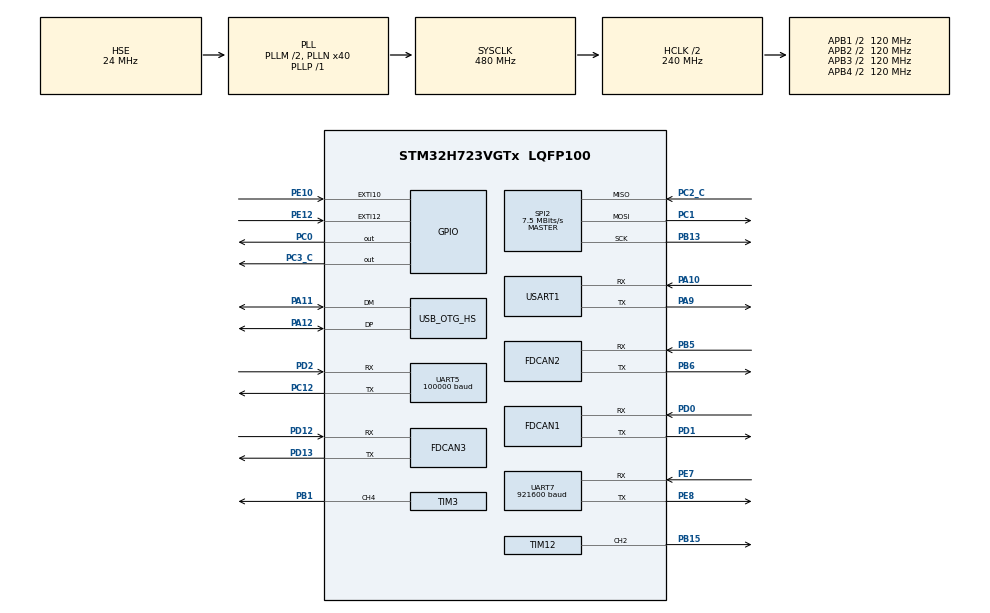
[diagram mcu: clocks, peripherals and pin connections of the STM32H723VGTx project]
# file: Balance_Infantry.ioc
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Dma.Request0=SPI2_RX
Dma.Request1=SPI2_TX
Dma.Request2=UART5_RX
Dma.Request3=USART1_RX
Dma.Request4=UART7_RX
Dma.Request5=UART7_TX
Dma.Request6=USART1_TX
Dma.SPI2_RX.0.Direction=DMA_PERIPH_TO_MEMORY
Dma.SPI2_RX.0.EventEnable=DISABLE
Dma.SPI2_RX.0.FIFOMode=DMA_FIFOMODE_DISABLE
Dma.SPI2_RX.0.Instance=DMA1_Stream3
Dma.SPI2_RX.0.MemDataAlignment=DMA_MDATAALIGN_BYTE
Dma.SPI2_RX.0.MemInc=DMA_MINC_ENABLE
Dma.SPI2_RX.0.Mode=DMA_NORMAL
Dma.SPI2_RX.0.PeriphDataAlignment=DMA_PDATAALIGN_BYTE
Dma.SPI2_RX.0.PeriphInc=DMA_PINC_DISABLE
Dma.SPI2_RX.0.Polarity=HAL_DMAMUX_REQ_GEN_RISING
Dma.SPI2_RX.0.Priority=DMA_PRIORITY_VERY_HIGH
Dma.SPI2_RX.0.RequestNumber=1
Dma.SPI2_RX.0.SignalID=NONE
Dma.SPI2_RX.0.SyncEnable=DISABLE
Dma.SPI2_RX.0.SyncPolarity=HAL_DMAMUX_SYNC_NO_EVENT
Dma.SPI2_RX.0.SyncRequestNumber=1
Dma.SPI2_RX.0.SyncSignalID=NONE
Dma.SPI2_TX.1.Direction=DMA_MEMORY_TO_PERIPH
Dma.SPI2_TX.1.EventEnable=DISABLE
Dma.SPI2_TX.1.FIFOMode=DMA_FIFOMODE_DISABLE
Dma.SPI2_TX.1.Instance=DMA1_Stream2
Dma.SPI2_TX.1.MemDataAlignment=DMA_MDATAALIGN_BYTE
Dma.SPI2_TX.1.MemInc=DMA_MINC_ENABLE
Dma.SPI2_TX.1.Mode=DMA_NORMAL
Dma.SPI2_TX.1.PeriphDataAlignment=DMA_PDATAALIGN_BYTE
Dma.SPI2_TX.1.PeriphInc=DMA_PINC_DISABLE
Dma.SPI2_TX.1.Polarity=HAL_DMAMUX_REQ_GEN_RISING
Dma.SPI2_TX.1.Priority=DMA_PRIORITY_HIGH
Dma.SPI2_TX.1.RequestNumber=1
Dma.SPI2_TX.1.SignalID=NONE
Dma.SPI2_TX.1.SyncEnable=DISABLE
Dma.SPI2_TX.1.SyncPolarity=HAL_DMAMUX_SYNC_NO_EVENT
Dma.SPI2_TX.1.SyncRequestNumber=1
Dma.SPI2_TX.1.SyncSignalID=NONE
Dma.UART5_RX.2.Direction=DMA_PERIPH_TO_MEMORY
Dma.UART5_RX.2.EventEnable=DISABLE
Dma.UART5_RX.2.FIFOMode=DMA_FIFOMODE_DISABLE
Dma.UART5_RX.2.Instance=DMA1_Stream1
Dma.UART5_RX.2.MemDataAlignment=DMA_MDATAALIGN_BYTE
Dma.UART5_RX.2.MemInc=DMA_MINC_ENABLE
Dma.UART5_RX.2.Mode=DMA_NORMAL
Dma.UART5_RX.2.PeriphDataAlignment=DMA_PDATAALIGN_BYTE
Dma.UART5_RX.2.PeriphInc=DMA_PINC_DISABLE
Dma.UART5_RX.2.Polarity=HAL_DMAMUX_REQ_GEN_RISING
Dma.UART5_RX.2.Priority=DMA_PRIORITY_LOW
Dma.UART5_RX.2.RequestNumber=1
Dma.UART5_RX.2.SignalID=NONE
Dma.UART5_RX.2.SyncEnable=DISABLE
Dma.UART5_RX.2.SyncPolarity=HAL_DMAMUX_SYNC_NO_EVENT
Dma.UART5_RX.2.SyncRequestNumber=1
Dma.UART5_RX.2.SyncSignalID=NONE
Dma.UART7_RX.4.Direction=DMA_PERIPH_TO_MEMORY
Dma.UART7_RX.4.EventEnable=DISABLE
Dma.UART7_RX.4.FIFOMode=DMA_FIFOMODE_DISABLE
Dma.UART7_RX.4.Instance=DMA2_Stream1
Dma.UART7_RX.4.MemDataAlignment=DMA_MDATAALIGN_BYTE
Dma.UART7_RX.4.MemInc=DMA_MINC_ENABLE
Dma.UART7_RX.4.Mode=DMA_NORMAL
Dma.UART7_RX.4.PeriphDataAlignment=DMA_PDATAALIGN_BYTE
Dma.UART7_RX.4.PeriphInc=DMA_PINC_DISABLE
Dma.UART7_RX.4.Polarity=HAL_DMAMUX_REQ_GEN_RISING
Dma.UART7_RX.4.Priority=DMA_PRIORITY_HIGH
Dma.UART7_RX.4.RequestNumber=1
Dma.UART7_RX.4.SignalID=NONE
Dma.UART7_RX.4.SyncEnable=DISABLE
Dma.UART7_RX.4.SyncPolarity=HAL_DMAMUX_SYNC_NO_EVENT
Dma.UART7_RX.4.SyncRequestNumber=1
Dma.UART7_RX.4.SyncSignalID=NONE
Dma.UART7_TX.5.Direction=DMA_MEMORY_TO_PERIPH
Dma.UART7_TX.5.EventEnable=DISABLE
Dma.UART7_TX.5.FIFOMode=DMA_FIFOMODE_DISABLE
Dma.UART7_TX.5.Instance=DMA2_Stream6
Dma.UART7_TX.5.MemDataAlignment=DMA_MDATAALIGN_BYTE
Dma.UART7_TX.5.MemInc=DMA_MINC_ENABLE
Dma.UART7_TX.5.Mode=DMA_NORMAL
Dma.UART7_TX.5.PeriphDataAlignment=DMA_PDATAALIGN_BYTE
Dma.UART7_TX.5.PeriphInc=DMA_PINC_DISABLE
Dma.UART7_TX.5.Polarity=HAL_DMAMUX_REQ_GEN_RISING
Dma.UART7_TX.5.Priority=DMA_PRIORITY_VERY_HIGH
Dma.UART7_TX.5.RequestNumber=1
Dma.UART7_TX.5.SignalID=NONE
Dma.UART7_TX.5.SyncEnable=DISABLE
Dma.UART7_TX.5.SyncPolarity=HAL_DMAMUX_SYNC_NO_EVENT
Dma.UART7_TX.5.SyncRequestNumber=1
Dma.UART7_TX.5.SyncSignalID=NONE
Dma.USART1_RX.3.Direction=DMA_PERIPH_TO_MEMORY
Dma.USART1_RX.3.EventEnable=DISABLE
Dma.USART1_RX.3.FIFOMode=DMA_FIFOMODE_DISABLE
Dma.USART1_RX.3.Instance=DMA1_Stream0
Dma.USART1_RX.3.MemDataAlignment=DMA_MDATAALIGN_BYTE
Dma.USART1_RX.3.MemInc=DMA_MINC_ENABLE
Dma.USART1_RX.3.Mode=DMA_NORMAL
Dma.USART1_RX.3.PeriphDataAlignment=DMA_PDATAALIGN_BYTE
Dma.USART1_RX.3.PeriphInc=DMA_PINC_DISABLE
Dma.USART1_RX.3.Polarity=HAL_DMAMUX_REQ_GEN_RISING
Dma.USART1_RX.3.Priority=DMA_PRIORITY_MEDIUM
Dma.USART1_RX.3.RequestNumber=1
Dma.USART1_RX.3.SignalID=NONE
Dma.USART1_RX.3.SyncEnable=DISABLE
Dma.USART1_RX.3.SyncPolarity=HAL_DMAMUX_SYNC_NO_EVENT
Dma.USART1_RX.3.SyncRequestNumber=1
Dma.USART1_RX.3.SyncSignalID=NONE
Dma.USART1_TX.6.Direction=DMA_MEMORY_TO_PERIPH
Dma.USART1_TX.6.EventEnable=DISABLE
Dma.USART1_TX.6.FIFOMode=DMA_FIFOMODE_DISABLE
Dma.USART1_TX.6.Instance=DMA1_Stream4
Dma.USART1_TX.6.MemDataAlignment=DMA_MDATAALIGN_BYTE
Dma.USART1_TX.6.MemInc=DMA_MINC_ENABLE
Dma.USART1_TX.6.Mode=DMA_NORMAL
Dma.USART1_TX.6.PeriphDataAlignment=DMA_PDATAALIGN_BYTE
Dma.USART1_TX.6.PeriphInc=DMA_PINC_DISABLE
Dma.USART1_TX.6.Polarity=HAL_DMAMUX_REQ_GEN_RISING
Dma.USART1_TX.6.Priority=DMA_PRIORITY_MEDIUM
Dma.USART1_TX.6.RequestNumber=1
Dma.USART1_TX.6.SignalID=NONE
Dma.USART1_TX.6.SyncEnable=DISABLE
Dma.USART1_TX.6.SyncPolarity=HAL_DMAMUX_SYNC_NO_EVENT
Dma.USART1_TX.6.SyncRequestNumber=1
Dma.USART1_TX.6.SyncSignalID=NONE
FDCAN1.AutoRetransmission=ENABLE
FDCAN1.CalculateBaudRateNominal=1000000
FDCAN1.CalculateTimeBitNominal=1000
FDCAN1.CalculateTimeQuantumNominal=25.0
FDCAN1.DataSyncJumpWidth=2
FDCAN1.DataTimeSeg1=13
FDCAN1.DataTimeSeg2=2
FDCAN1.ExtFiltersNbr=4
FDCAN1.NominalPrescaler=3
FDCAN1.NominalSyncJumpWidth=4
FDCAN1.NominalTimeSeg1=29
FDCAN1.NominalTimeSeg2=10
FDCAN1.ProtocolException=ENABLE
FDCAN1.RxBuffersNbr=2
FDCAN1.RxFifo0ElmtsNbr=8
FDCAN1.RxFifo1ElmtsNbr=8
FDCAN1.StdFiltersNbr=4
FDCAN1.TxBuffersNbr=8
FDCAN1.TxEventsNbr=8
FDCAN1.TxFifoQueueElmtsNbr=8
FDCAN2.AutoRetransmission=ENABLE
FDCAN2.CalculateBaudRateNominal=1000000
FDCAN2.CalculateTimeBitNominal=1000
FDCAN2.CalculateTimeQuantumNominal=25.0
FDCAN2.DataSyncJumpWidth=2
FDCAN2.DataTimeSeg1=13
FDCAN2.DataTimeSeg2=2
FDCAN2.ExtFiltersNbr=4
FDCAN2.MessageRAMOffset=0x406
FDCAN2.NominalPrescaler=3
FDCAN2.NominalSyncJumpWidth=4
FDCAN2.NominalTimeSeg1=29
FDCAN2.NominalTimeSeg2=10
FDCAN2.ProtocolException=ENABLE
FDCAN2.RxBuffersNbr=2
FDCAN2.RxFifo0ElmtsNbr=8
FDCAN2.RxFifo1ElmtsNbr=8
FDCAN2.StdFiltersNbr=4
FDCAN2.TxBuffersNbr=8
FDCAN2.TxEventsNbr=8
FDCAN2.TxFifoQueueElmtsNbr=8
FDCAN3.AutoRetransmission=ENABLE
FDCAN3.CalculateBaudRateNominal=1000000
FDCAN3.CalculateTimeBitNominal=1000
FDCAN3.CalculateTimeQuantumNominal=25.0
FDCAN3.DataSyncJumpWidth=2
FDCAN3.DataTimeSeg1=13
FDCAN3.DataTimeSeg2=2
FDCAN3.ExtFiltersNbr=4
FDCAN3.MessageRAMOffset=0x812
FDCAN3.NominalPrescaler=3
FDCAN3.NominalSyncJumpWidth=4
FDCAN3.NominalTimeSeg1=29
FDCAN3.NominalTimeSeg2=10
FDCAN3.ProtocolException=ENABLE
FDCAN3.RxBuffersNbr=2
FDCAN3.RxFifo0ElmtsNbr=8
FDCAN3.RxFifo1ElmtsNbr=8
FDCAN3.StdFiltersNbr=4
FDCAN3.TxBuffersNbr=8
FDCAN3.TxEventsNbr=8
FDCAN3.TxFifoQueueElmtsNbr=8
FREERTOS.INCLUDE_eTaskGetState=1
FREERTOS.INCLUDE_pcTaskGetTaskName=1
FREERTOS.INCLUDE_uxTaskGetStackHighWaterMark=1
FREERTOS.INCLUDE_vTaskCleanUpResources=1
FREERTOS.INCLUDE_vTaskDelayUntil=1
FREERTOS.INCLUDE_xQueueGetMutexHolder=1
FREERTOS.INCLUDE_xSemaphoreGetMutexHolder=1
FREERTOS.INCLUDE_xTaskAbortDelay=1
FREERTOS.INCLUDE_xTaskGetCurrentTaskHandle=1
FREERTOS.INCLUDE_xTaskGetHandle=1
FREERTOS.Tasks01=Check_Task,-1,256,Start_Check_Task,Default,NULL,Dynamic,NULL,NULL;Ins_Task,3,1024,Start_Ins_Task,Default,NULL,Dynamic,NULL,NULL;Gimbal_Task,2,512,Start_Gimbal_Task,Default,NULL,Dynamic,NULL,NULL;Board_Can_Task,0,256,Start_Board_Can_Task,Default,NULL,Dynamic,NULL,NULL;Aim_Task,3,1024,Start_Aim_Task,Default,NULL,Dynamic,NULL,NULL;Limit_Task,2,512,Start_Limit_Task,Default,NULL,Dynamic,NULL,NULL
FREERTOS.configTOTAL_HEAP_SIZE=24567
FREERTOS.configUSE_CO_ROUTINES=0
FREERTOS.configUSE_TIMERS=1
Mcu.Family=STM32H7
Mcu.Name=STM32H723VGTx
Mcu.Package=LQFP100
NVIC.DMA1_Stream0_IRQn=true\:5\:0\:false\:false\:true\:true\:false\:true\:true
NVIC.DMA1_Stream1_IRQn=true\:5\:0\:false\:false\:true\:true\:false\:true\:true
NVIC.DMA1_Stream2_IRQn=true\:5\:0\:false\:false\:true\:true\:false\:true\:true
NVIC.DMA1_Stream3_IRQn=true\:5\:0\:false\:false\:true\:true\:false\:true\:true
NVIC.DMA1_Stream4_IRQn=true\:5\:0\:false\:false\:true\:true\:false\:true\:true
NVIC.DMA2_Stream1_IRQn=true\:5\:0\:false\:false\:true\:true\:false\:true\:true
NVIC.DMA2_Stream6_IRQn=true\:5\:0\:false\:false\:true\:true\:false\:true\:true
NVIC.EXTI15_10_IRQn=true\:5\:0\:false\:false\:true\:true\:true\:true\:true
NVIC.FDCAN1_IT0_IRQn=true\:5\:0\:false\:false\:true\:true\:true\:true\:true
NVIC.FDCAN1_IT1_IRQn=true\:5\:0\:false\:false\:true\:true\:true\:true\:true
NVIC.FDCAN2_IT0_IRQn=true\:5\:0\:false\:false\:true\:true\:true\:true\:true
NVIC.FDCAN2_IT1_IRQn=true\:5\:0\:false\:false\:true\:true\:true\:true\:true
NVIC.FDCAN3_IT0_IRQn=true\:5\:0\:false\:false\:true\:true\:true\:true\:true
NVIC.FDCAN3_IT1_IRQn=true\:5\:0\:false\:false\:true\:true\:true\:true\:true
NVIC.OTG_HS_IRQn=true\:5\:0\:false\:false\:true\:true\:false\:true\:true
NVIC.PriorityGroup=NVIC_PRIORITYGROUP_4
NVIC.SPI2_IRQn=true\:5\:0\:false\:false\:true\:true\:false\:true\:true
NVIC.TIM2_IRQn=true\:15\:0\:false\:false\:true\:false\:false\:true\:true
NVIC.TimeBase=TIM2_IRQn
NVIC.TimeBaseIP=TIM2
NVIC.UART5_IRQn=true\:5\:0\:false\:false\:true\:true\:true\:true\:true
NVIC.UART7_IRQn=true\:5\:0\:false\:false\:true\:true\:true\:true\:true
NVIC.USART1_IRQn=true\:5\:0\:false\:false\:true\:true\:true\:true\:true
PA10.Mode=Asynchronous
PA10.Signal=USART1_RX
PA11.Mode=Device_Only_FS
PA11.Signal=USB_OTG_HS_DM
PA12.Mode=Device_Only_FS
PA12.Signal=USB_OTG_HS_DP
PA13(JTMS/SWDIO).Mode=Serial_Wire
PA13(JTMS/SWDIO).Signal=DEBUG_JTMS-SWDIO
PA14(JTCK/SWCLK).Mode=Serial_Wire
PA14(JTCK/SWCLK).Signal=DEBUG_JTCK-SWCLK
PA9.Mode=Asynchronous
PA9.Signal=USART1_TX
PB1.Signal=S_TIM3_CH4
PB13.Mode=Full_Duplex_Master
PB13.Signal=SPI2_SCK
PB15.Signal=S_TIM12_CH2
PB5.Mode=FDCAN_Activate
PB5.Signal=FDCAN2_RX
PB6.Mode=FDCAN_Activate
PB6.Signal=FDCAN2_TX
PC0.GPIO_Speed=GPIO_SPEED_FREQ_VERY_HIGH
PC0.PinState=GPIO_PIN_SET
PC0.Signal=GPIO_Output
PC1.Mode=Full_Duplex_Master
PC1.Signal=SPI2_MOSI
PC12.Mode=Asynchronous
PC12.Signal=UART5_TX
PC2_C.Mode=Full_Duplex_Master
PC2_C.Signal=SPI2_MISO
PC3_C.GPIO_Speed=GPIO_SPEED_FREQ_VERY_HIGH
PC3_C.PinState=GPIO_PIN_SET
PC3_C.Signal=GPIO_Output
PD0.Mode=FDCAN_Activate
PD0.Signal=FDCAN1_RX
PD1.Mode=FDCAN_Activate
PD1.Signal=FDCAN1_TX
PD12.Mode=FDCAN_Activate
PD12.Signal=FDCAN3_RX
PD13.Mode=FDCAN_Activate
PD13.Signal=FDCAN3_TX
PD2.Mode=Asynchronous
PD2.Signal=UART5_RX
PE10.Signal=GPXTI10
PE12.Signal=GPXTI12
PE7.Mode=Asynchronous
PE7.Signal=UART7_RX
PE8.Mode=Asynchronous
PE8.Signal=UART7_TX
PH0-OSC_IN.Mode=HSE-External-Oscillator
PH0-OSC_IN.Signal=RCC_OSC_IN
PH1-OSC_OUT.Mode=HSE-External-Oscillator
PH1-OSC_OUT.Signal=RCC_OSC_OUT
ProjectManager.HeapSize=0x2000
ProjectManager.StackSize=0x4000
ProjectManager.TargetToolchain=MDK-ARM V5.32
RCC.ADCFreq_Value=48375000
RCC.APB1Freq_Value=120000000
RCC.APB2Freq_Value=120000000
RCC.APB3Freq_Value=120000000
RCC.APB4Freq_Value=120000000
RCC.CortexFreq_Value=480000000
RCC.D1PPRE=RCC_APB3_DIV2
RCC.D2PPRE1=RCC_APB1_DIV2
RCC.D2PPRE2=RCC_APB2_DIV2
RCC.D3PPRE=RCC_APB4_DIV2
RCC.DIVM1=2
RCC.DIVN1=40
RCC.DIVP1=1
RCC.DIVQ1=4
RCC.HCLKFreq_Value=240000000
RCC.HPRE=RCC_HCLK_DIV2
RCC.HSE_VALUE=24000000
RCC.PLL2FRACN=0
RCC.PLL3FRACN=0
RCC.PLLFRACN=0
RCC.PLLSourceVirtual=RCC_PLLSOURCE_HSE
RCC.SYSCLKFreq_VALUE=480000000
RCC.SYSCLKSource=RCC_SYSCLKSOURCE_PLLCLK
RCC.USBCLockSelection=RCC_USBCLKSOURCE_HSI48
RCC.USBFreq_Value=48000000
SH.S_TIM12_CH2.0=TIM12_CH2,PWM Generation2 CH2
SH.S_TIM3_CH4.0=TIM3_CH4,PWM Generation4 CH4
SPI2.BaudRatePrescaler=SPI_BAUDRATEPRESCALER_16
SPI2.CLKPhase=SPI_PHASE_2EDGE
SPI2.CLKPolarity=SPI_POLARITY_HIGH
SPI2.CalculateBaudRate=7.5 MBits/s
SPI2.DataSize=SPI_DATASIZE_8BIT
SPI2.Direction=SPI_DIRECTION_2LINES
SPI2.Mode=SPI_MODE_MASTER
SPI2.VirtualType=VM_MASTER
TIM12.Channel-PWM\ Generation2\ CH2=TIM_CHANNEL_2
TIM12.Period=10000-1
TIM12.Prescaler=12-1
TIM3.Channel-PWM\ Generation4\ CH4=TIM_CHANNEL_4
TIM3.Period=10000-1
TIM3.Prescaler=24-1
UART5.BaudRate=100000
UART5.Parity=PARITY_EVEN
UART5.StopBits=UART_STOPBITS_1
UART5.WordLength=WORDLENGTH_9B
UART7.BaudRate=921600
USART1.VirtualMode-Asynchronous=VM_ASYNC
USB_DEVICE.CLASS_NAME_HS=CDC
USB_DEVICE.VirtualMode=Cdc
USB_DEVICE.VirtualModeHS=Cdc_HS
USB_OTG_HS.VirtualMode-Device_Only_FS=Device_Only_FS
VP_CRC_VS_CRC.Mode=CRC_Activate
VP_FREERTOS_VS_CMSIS_V1.Mode=CMSIS_V1
VP_MEMORYMAP_VS_MEMORYMAP.Mode=CurAppReg
VP_SYS_VS_tim2.Mode=TIM2
VP_USB_DEVICE_VS_USB_DEVICE_CDC_HS.Mode=CDC_HS
board=custom

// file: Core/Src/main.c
/* USER CODE BEGIN Header */
/**
  ******************************************************************************
  * @file           : main.c
  * @brief          : Main program body
  ******************************************************************************
  * @attention
  *
  * Copyright (c) 2026 STMicroelectronics.
  * All rights reserved.
  *
  * This software is licensed under terms that can be found in the LICENSE file
  * in the root directory of this software component.
  * If no LICENSE file comes with this software, it is provided AS-IS.
  *
  ******************************************************************************
  */
/* USER CODE END Header */
#include "main.h"
#include "cmsis_os.h"
#include "crc.h"
#include "dma.h"
#include "fdcan.h"
#include "spi.h"
#include "tim.h"
#include "usart.h"
#include "usb_device.h"
#include "gpio.h"

/* USER CODE BEGIN Includes */

#include "VT03.h"
#include "bsp_dwt.h"
#include "bsp_can.h"
#include "bsp_buzzer.h"
#include "BMI088driver.h"
#include "Remote_Control.h"

/* USER CODE END Includes */

void SystemClock_Config(void);
void MX_FREERTOS_Init(void);

int main(void)
{

  /* MCU Configuration--------------------------------------------------------*/

  /* Reset of all peripherals, Initializes the Flash interface and the Systick. */
  HAL_Init();

  /* Configure the system clock */
  SystemClock_Config();

  /* Initialize all configured peripherals */
  MX_GPIO_Init();
  MX_DMA_Init();
  MX_TIM3_Init();
  MX_TIM12_Init();
  MX_SPI2_Init();
  MX_FDCAN1_Init();
  MX_FDCAN2_Init();
  MX_FDCAN3_Init();
  MX_UART5_Init();
  MX_USART1_UART_Init();
  MX_UART7_Init();
  MX_CRC_Init();
  /* USER CODE BEGIN 2 */

	//BMI088
	DWT_Init(480);
	while(BMI088_init(&hspi2, 0) != BMI088_NO_ERROR){;}

	//BUZZER
	HAL_TIM_Base_Start(&htim12);
	HAL_TIM_PWM_Start(&htim12, TIM_CHANNEL_2);

	Buzzer_Off();

	//RC
	Remote_Control_Init();

	//VT03
	VT03_Init();

	//CAN
	FDCAN_Init();

  /* USER CODE END 2 */

  /* Call init function for freertos objects (in cmsis_os2.c) */
  MX_FREERTOS_Init();

  /* Start scheduler */
  osKernelStart();

  /* We should never get here as control is now taken by the scheduler */

  /* Infinite loop */
  while (1)
  {

  }
}

void SystemClock_Config(void)
{
  RCC_OscInitTypeDef RCC_OscInitStruct = {0};
  RCC_ClkInitTypeDef RCC_ClkInitStruct = {0};

  /** Supply configuration update enable
  */
  HAL_PWREx_ConfigSupply(PWR_LDO_SUPPLY);

  /** Configure the main internal regulator output voltage
  */
  __HAL_PWR_VOLTAGESCALING_CONFIG(PWR_REGULATOR_VOLTAGE_SCALE0);

  while(!__HAL_PWR_GET_FLAG(PWR_FLAG_VOSRDY)) {}

  /** Initializes the RCC Oscillators according to the specified parameters
  * in the RCC_OscInitTypeDef structure.
  */
  RCC_OscInitStruct.OscillatorType = RCC_OSCILLATORTYPE_HSI48|RCC_OSCILLATORTYPE_HSE;
  RCC_OscInitStruct.HSEState = RCC_HSE_ON;
  RCC_OscInitStruct.HSI48State = RCC_HSI48_ON;
  RCC_OscInitStruct.PLL.PLLState = RCC_PLL_ON;
  RCC_OscInitStruct.PLL.PLLSource = RCC_PLLSOURCE_HSE;
  RCC_OscInitStruct.PLL.PLLM = 2;
  RCC_OscInitStruct.PLL.PLLN = 40;
  RCC_OscInitStruct.PLL.PLLP = 1;
  RCC_OscInitStruct.PLL.PLLQ = 4;
  RCC_OscInitStruct.PLL.PLLR = 2;
  RCC_OscInitStruct.PLL.PLLRGE = RCC_PLL1VCIRANGE_3;
  RCC_OscInitStruct.PLL.PLLVCOSEL = RCC_PLL1VCOWIDE;
  RCC_OscInitStruct.PLL.PLLFRACN = 0;
  if (HAL_RCC_OscConfig(&RCC_OscInitStruct) != HAL_OK)
  {
    Error_Handler();
  }

  /** Initializes the CPU, AHB and APB buses clocks
  */
  RCC_ClkInitStruct.ClockType = RCC_CLOCKTYPE_HCLK|RCC_CLOCKTYPE_SYSCLK
                              |RCC_CLOCKTYPE_PCLK1|RCC_CLOCKTYPE_PCLK2
                              |RCC_CLOCKTYPE_D3PCLK1|RCC_CLOCKTYPE_D1PCLK1;
  RCC_ClkInitStruct.SYSCLKSource = RCC_SYSCLKSOURCE_PLLCLK;
  RCC_ClkInitStruct.SYSCLKDivider = RCC_SYSCLK_DIV1;
  RCC_ClkInitStruct.AHBCLKDivider = RCC_HCLK_DIV2;
  RCC_ClkInitStruct.APB3CLKDivider = RCC_APB3_DIV2;
  RCC_ClkInitStruct.APB1CLKDivider = RCC_APB1_DIV2;
  RCC_ClkInitStruct.APB2CLKDivider = RCC_APB2_DIV2;
  RCC_ClkInitStruct.APB4CLKDivider = RCC_APB4_DIV2;

  if (HAL_RCC_ClockConfig(&RCC_ClkInitStruct, FLASH_LATENCY_3) != HAL_OK)
  {
    Error_Handler();
  }
}

void HAL_TIM_PeriodElapsedCallback(TIM_HandleTypeDef *htim)
{
  if (htim->Instance == TIM2)
  {
    HAL_IncTick();
  }
}

void Error_Handler(void)
{
  __disable_irq();
  while (1)
  {
  }
}

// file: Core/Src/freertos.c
/* USER CODE BEGIN Header */
/**
  ******************************************************************************
  * File Name          : freertos.c
  * Description        : Code for freertos applications
  ******************************************************************************
  * @attention
  *
  * Copyright (c) 2026 STMicroelectronics.
  * All rights reserved.
  *
  * This software is licensed under terms that can be found in the LICENSE file
  * in the root directory of this software component.
  * If no LICENSE file comes with this software, it is provided AS-IS.
  *
  ******************************************************************************
  */
/* USER CODE END Header */

#include "FreeRTOS.h"
#include "task.h"
#include "main.h"
#include "cmsis_os.h"

/* USER CODE BEGIN Includes */

#include "Ins_Task.h"
#include "Aim_Task.h"
#include "Limit_Task.h"
#include "Check_Task.h"
#include "Gimbal_Task.h"
#include "Board_Can_Task.h"
#include "GimbalSystemID.h"

/* USER CODE END Includes */

/* USER CODE BEGIN Variables */

int Test_Check_Flag = 0;

/* USER CODE END Variables */
osThreadId Check_TaskHandle;
osThreadId Ins_TaskHandle;
osThreadId Gimbal_TaskHandle;
osThreadId Board_Can_TaskHandle;
osThreadId Aim_TaskHandle;
osThreadId Limit_TaskHandle;

void Start_Check_Task(void const * argument);
void Start_Ins_Task(void const * argument);
void Start_Gimbal_Task(void const * argument);
void Start_Board_Can_Task(void const * argument);
void Start_Aim_Task(void const * argument);
void Start_Limit_Task(void const * argument);

extern void MX_USB_DEVICE_Init(void);
void MX_FREERTOS_Init(void); /* (MISRA C 2004 rule 8.1) */

/* GetIdleTaskMemory prototype (linked to static allocation support) */
void vApplicationGetIdleTaskMemory( StaticTask_t **ppxIdleTaskTCBBuffer, StackType_t **ppxIdleTaskStackBuffer, uint32_t *pulIdleTaskStackSize );

/* GetTimerTaskMemory prototype (linked to static allocation support) */
void vApplicationGetTimerTaskMemory( StaticTask_t **ppxTimerTaskTCBBuffer, StackType_t **ppxTimerTaskStackBuffer, uint32_t *pulTimerTaskStackSize );

/* USER CODE BEGIN GET_IDLE_TASK_MEMORY */
static StaticTask_t xIdleTaskTCBBuffer;
static StackType_t xIdleStack[configMINIMAL_STACK_SIZE];

void vApplicationGetIdleTaskMemory( StaticTask_t **ppxIdleTaskTCBBuffer, StackType_t **ppxIdleTaskStackBuffer, uint32_t *pulIdleTaskStackSize )
{
  *ppxIdleTaskTCBBuffer = &xIdleTaskTCBBuffer;
  *ppxIdleTaskStackBuffer = &xIdleStack[0];
  *pulIdleTaskStackSize = configMINIMAL_STACK_SIZE;
  /* place for user code */
}
/* USER CODE END GET_IDLE_TASK_MEMORY */

/* USER CODE BEGIN GET_TIMER_TASK_MEMORY */
static StaticTask_t xTimerTaskTCBBuffer;
static StackType_t xTimerStack[configTIMER_TASK_STACK_DEPTH];

void vApplicationGetTimerTaskMemory( StaticTask_t **ppxTimerTaskTCBBuffer, StackType_t **ppxTimerTaskStackBuffer, uint32_t *pulTimerTaskStackSize )
{
  *ppxTimerTaskTCBBuffer = &xTimerTaskTCBBuffer;
  *ppxTimerTaskStackBuffer = &xTimerStack[0];
  *pulTimerTaskStackSize = configTIMER_TASK_STACK_DEPTH;
  /* place for user code */
}
/* USER CODE END GET_TIMER_TASK_MEMORY */

void MX_FREERTOS_Init(void) {

  /* Create the thread(s) */
  /* definition and creation of Check_Task */
  osThreadDef(Check_Task, Start_Check_Task, osPriorityBelowNormal, 0, 256);
  Check_TaskHandle = osThreadCreate(osThread(Check_Task), NULL);

  /* definition and creation of Ins_Task */
  osThreadDef(Ins_Task, Start_Ins_Task, osPriorityRealtime, 0, 1024);
  Ins_TaskHandle = osThreadCreate(osThread(Ins_Task), NULL);

  /* definition and creation of Gimbal_Task */
  osThreadDef(Gimbal_Task, Start_Gimbal_Task, osPriorityHigh, 0, 512);
  Gimbal_TaskHandle = osThreadCreate(osThread(Gimbal_Task), NULL);

  /* definition and creation of Board_Can_Task */
  osThreadDef(Board_Can_Task, Start_Board_Can_Task, osPriorityNormal, 0, 256);
  Board_Can_TaskHandle = osThreadCreate(osThread(Board_Can_Task), NULL);

  /* definition and creation of Aim_Task */
  osThreadDef(Aim_Task, Start_Aim_Task, osPriorityRealtime, 0, 1024);
  Aim_TaskHandle = osThreadCreate(osThread(Aim_Task), NULL);

  /* definition and creation of Limit_Task */
  osThreadDef(Limit_Task, Start_Limit_Task, osPriorityHigh, 0, 512);
  Limit_TaskHandle = osThreadCreate(osThread(Limit_Task), NULL);

}

void Start_Check_Task(void const * argument)
{
  /* init code for USB_DEVICE */
  MX_USB_DEVICE_Init();
  /* USER CODE BEGIN Start_Check_Task */

	Check_Init();

  /* Infinite loop */
  for(;;)
  {
		Test_Check_Flag++;

		if(Test_Check_Flag > 5000)
		{
			Test_Check_Flag = 0;
		}

    Check_Task();
    osDelay(10);
  }
  /* USER CODE END Start_Check_Task */
}

void Start_Ins_Task(void const * argument)
{
  /* USER CODE BEGIN Start_Ins_Task */

	INS_Init();

  /* Infinite loop */
  for(;;)
  {
		INS_Task();

    osDelay(1);
  }
  /* USER CODE END Start_Ins_Task */
}

void Start_Gimbal_Task(void const * argument)
{
  /* USER CODE BEGIN Start_Gimbal_Task */

	Gimbal_Init();

	GimbalSystemID_Init(&Gimbal_Status);

  /* Infinite loop */
  for(;;)
  {
		Gimbal_Task();

    osDelay(1);
  }
  /* USER CODE END Start_Gimbal_Task */
}

void Start_Board_Can_Task(void const * argument)
{
  /* USER CODE BEGIN Start_Board_Can_Task */

	Board_Can_Init();

  /* Infinite loop */
  for(;;)
  {
		Board_Can_Task();

    osDelay(1);
  }
  /* USER CODE END Start_Board_Can_Task */
}

void Start_Aim_Task(void const * argument)
{
  /* USER CODE BEGIN Start_Aim_Task */

	Aim_Init();

  /* Infinite loop */
  for(;;)
  {
		Aim_Task();

    osDelay(1);
  }
  /* USER CODE END Start_Aim_Task */
}

void Start_Limit_Task(void const * argument)
{
  /* USER CODE BEGIN Start_Limit_Task */

	Limit_Init();

  /* Infinite loop */
  for(;;)
  {
		Limit_Task();

    osDelay(1);
  }
  /* USER CODE END Start_Limit_Task */
}
